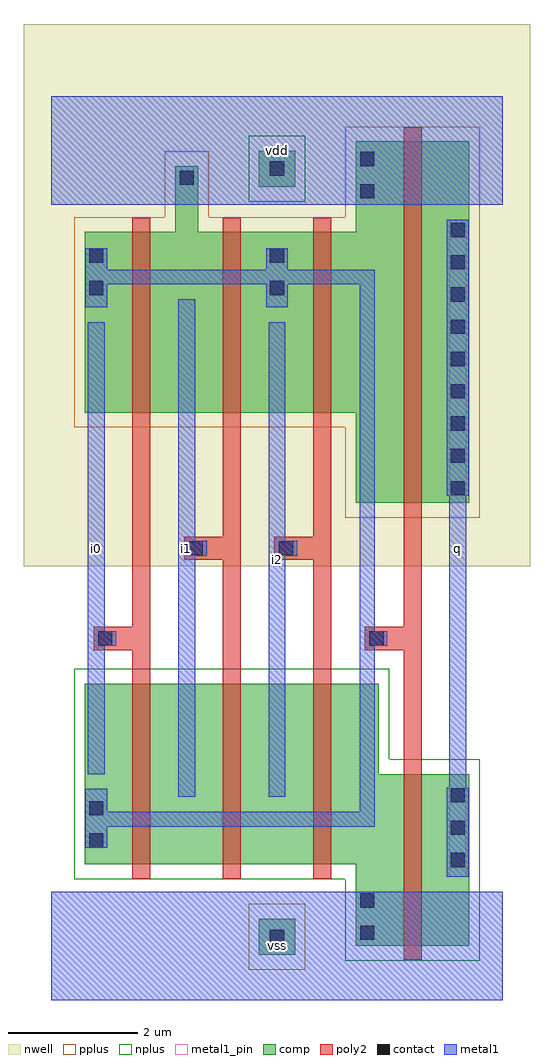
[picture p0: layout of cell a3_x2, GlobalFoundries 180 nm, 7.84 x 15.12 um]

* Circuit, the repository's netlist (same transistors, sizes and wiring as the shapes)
* a3_x2
.subckt a3_x2 vdd q vss i0 i1 i2
Mp_net1_1 vdd _net1 q vdd pfet_03v3 l=0.28um w=5.6um
Mn_net1_1 vss _net1 q vss nfet_03v3 l=0.28um w=2.66um
Mp_i0_1 _net1 i0 vdd vdd pfet_03v3 l=0.28um w=2.8um
Mn_i0_1 _net1 i0 _net0 vss nfet_03v3 l=0.28um w=2.8um
Mn_i1_1 _net0 i1 _net2 vss nfet_03v3 l=0.28um w=2.8um
Mp_i1_1 vdd i1 _net1 vdd pfet_03v3 l=0.28um w=2.8um
Mn_i2_1 _net2 i2 vss vss nfet_03v3 l=0.28um w=2.8um
Mp_i2_1 _net1 i2 vdd vdd pfet_03v3 l=0.28um w=2.8um
.ends a3_x2

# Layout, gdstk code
import gdstk
lib = gdstk.Library(unit=1e-6, precision=1e-09)
def R(c, l, rs):  # rectangles x0, y0, x1, y1
    for r in rs: c.add(gdstk.rectangle(r[:2], r[2:], *l))
def A(c, l, x, y, w, h, nx, ny, dx, dy):  # array of equal rectangles
    R(c, l, [(x+i*dx, y+j*dy, x+i*dx+w, y+j*dy+h) for i in range(nx) for j in range(ny)])
def P(c, l, *ps):  # polygons
    for p in ps: c.add(gdstk.Polygon(p, *l))
nwell = (21, 0)
comp = (22, 0)
poly2 = (30, 0)
pplus = (31, 0)
nplus = (32, 0)
contact = (33, 0)
metal1 = (34, 0)
metal1_pin = (34, 10)

a3_x2 = lib.new_cell('a3_x2')
R(a3_x2, nwell, [(-0.42,6.72,7.42,15.12)])
R(a3_x2, comp, [(3.22,0.7,3.78,1.26), (3.22,12.6,3.78,13.16)])
P(a3_x2, comp, [(4.72,7.7),(4.72,9.1),(0.52,9.1),(0.52,11.9),(1.92,11.9),(1.92,12.92),(2.28,12.92),(2.28,11.9),(4.72,11.9),(4.72,13.3),(6.48,13.3),(6.48,7.7)],
  [(4.72,0.84),(4.72,2.1),(0.52,2.1),(0.52,4.9),(5.08,4.9),(5.08,3.5),(6.48,3.5),(6.48,0.84)])
P(a3_x2, poly2, [(5.46,0.62),(5.46,5.42),(4.86,5.42),(4.86,5.78),(5.46,5.78),(5.46,13.52),(5.74,13.52),(5.74,0.62)],
  [(1.26,1.88),(1.26,5.42),(0.66,5.42),(0.66,5.78),(1.26,5.78),(1.26,12.12),(1.54,12.12),(1.54,1.88)],
  [(2.66,1.88),(2.66,6.82),(2.06,6.82),(2.06,7.18),(2.66,7.18),(2.66,12.12),(2.94,12.12),(2.94,1.88)],
  [(4.06,1.88),(4.06,6.82),(3.46,6.82),(3.46,7.18),(4.06,7.18),(4.06,12.12),(4.34,12.12),(4.34,1.88)])
R(a3_x2, pplus, [(3.06,0.47,3.94,1.49)])
P(a3_x2, pplus, [(4.56,7.47),(4.56,8.87),(0.36,8.87),(0.36,12.13),(1.76,12.13),(1.76,13.15),(2.44,13.15),(2.44,12.13),(4.56,12.13),(4.56,13.53),(6.64,13.53),(6.64,7.47)])
R(a3_x2, nplus, [(3.06,12.37,3.94,13.39)])
P(a3_x2, nplus, [(4.56,0.61),(4.56,1.87),(0.36,1.87),(0.36,5.13),(5.24,5.13),(5.24,3.73),(6.64,3.73),(6.64,0.61)])
A(a3_x2, contact, 6.19, 2.06, 0.22, 0.22, 1, 3, 0, 0.5)
A(a3_x2, contact, 6.19, 7.82, 0.22, 0.22, 1, 9, 0, 0.5)
R(a3_x2, contact, [(3.39,0.87,3.61,1.09), (4.79,0.93,5.01,1.15), (4.79,1.43,5.01,1.65), (0.59,2.36,0.81,2.58), (0.59,2.86,0.81,3.08), (0.73,5.49,0.95,5.71), (4.93,5.49,5.15,5.71), (2.13,6.89,2.35,7.11), (3.53,6.89,3.75,7.11), (0.59,10.92,0.81,11.14), (3.39,10.92,3.61,11.14), (0.59,11.42,0.81,11.64), (3.39,11.42,3.61,11.64), (4.79,12.42,5.01,12.64), (1.99,12.63,2.21,12.85), (3.39,12.77,3.61,12.99), (4.79,12.92,5.01,13.14)])
R(a3_x2, metal1, [(0,0,7,1.68), (0,12.32,7,14)])
P(a3_x2, metal1, [(6.13,1.91),(6.13,3.285),(6.17,3.285),(6.17,7.815),(6.13,7.815),(6.13,12.09),(6.47,12.09),(6.47,7.815),(6.43,7.815),(6.43,3.285),(6.47,3.285),(6.47,1.91)],
  [(0.53,2.355),(0.53,3.27),(0.87,3.27),(0.87,2.915),(4.785,2.915),(4.785,11.085),(3.67,11.085),(3.67,10.73),(3.33,10.73),(3.33,11.085),(0.87,11.085),(0.87,10.73),(0.53,10.73),(0.53,11.645),(0.87,11.645),(0.87,11.315),(3.33,11.315),(3.33,11.645),(3.67,11.645),(3.67,11.315),(5.015,11.315),(5.015,5.715),(5.21,5.715),(5.21,5.485),(5.015,5.485),(5.015,2.685),(0.87,2.685),(0.87,2.355)],
  [(0.57,3.5),(0.57,10.5),(0.83,10.5),(0.83,5.715),(1.01,5.715),(1.01,5.485),(0.83,5.485),(0.83,3.5)],
  [(1.97,3.145),(1.97,10.855),(2.23,10.855),(2.23,7.115),(2.41,7.115),(2.41,6.885),(2.23,6.885),(2.23,3.145)],
  [(3.37,3.145),(3.37,10.5),(3.63,10.5),(3.63,7.115),(3.81,7.115),(3.81,6.885),(3.63,6.885),(3.63,3.145)])
R(a3_x2, metal1_pin, [(0,0,7,1.68), (6.17,1.91,6.43,12.09), (1.97,3.145,2.23,10.855), (3.37,3.145,3.63,10.5), (0.57,3.5,0.83,10.5), (0,12.32,7,14)])
a3_x2.add(gdstk.Label('vdd', (3.5,13.16), layer=34, texttype=10))
a3_x2.add(gdstk.Label('q', (6.3,7), layer=34, texttype=10))
a3_x2.add(gdstk.Label('vss', (3.5,0.84), layer=34, texttype=10))
a3_x2.add(gdstk.Label('i0', (0.7,7), layer=34, texttype=10))
a3_x2.add(gdstk.Label('i1', (2.1,7), layer=34, texttype=10))
a3_x2.add(gdstk.Label('i2', (3.5,6.823), layer=34, texttype=10))

lib.write_gds('a3_x2.gds')
